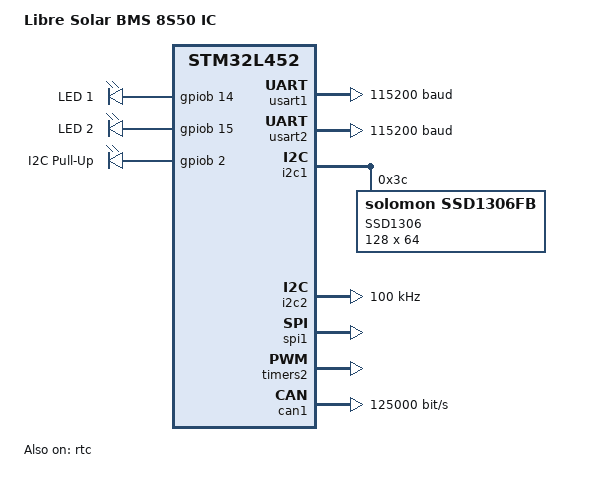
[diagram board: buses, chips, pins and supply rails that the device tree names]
/*
 * Copyright (c) 2017 Linaro Limited
 *
 * SPDX-License-Identifier: Apache-2.0
 */

/dts-v1/;
#include <st/l4/stm32l452Xc.dtsi>

/ {
	model = "Libre Solar BMS 8S50 IC";
	compatible = "st,stm32l452re-nucleo", "st,stm32l452";

	chosen {
		zephyr,console = &usart1;
		zephyr,shell-uart = &usart1;
		zephyr,sram = &sram0;
		zephyr,flash = &flash0;
	};

	leds {
		compatible = "gpio-leds";
		led1: led_0 {
			gpios = <&gpiob 14 GPIO_INT_ACTIVE_HIGH>;
			label = "LED 1";
		};
		led2: led_1 {
			gpios = <&gpiob 15 GPIO_INT_ACTIVE_HIGH>;
			label = "LED 2";
		};
		/* TODO: put to GPIOs or similar */
		i2c_pu: pb_2 {
			gpios = <&gpiob 2 GPIO_INT_ACTIVE_HIGH>;
			label = "I2C Pull-Up";
		};
	};

	aliases {
		led-red = &led1;
		led-green = &led2;
		i2c-pullup = &i2c_pu;
	};
};

&usart1 {
	current-speed = <115200>;
	status = "okay";
};

&usart2 {
	current-speed = <115200>;
	status = "okay";
};

&i2c1 {
	status = "okay";

	ssd1306@3c {
		compatible = "solomon,ssd1306fb";
		reg = <0x3c>;
		label = "SSD1306";
		width = <128>;
		height = <64>;
		segment-offset = <0>;
		page-offset = <0>;
		display-offset = <0>;
		multiplex-ratio = <63>;
		segment-remap;
		com-invdir;
		prechargep = <0x22>;
	};
};

&i2c2 {
	status = "okay";
	clock-frequency = <I2C_BITRATE_STANDARD>;
};

&spi1 {
	status = "okay";
};

&timers2 {
	status = "okay";

	pwm {
		status = "okay";
	};
};

&can1 {
	bus-speed = <125000>;
	status = "okay";
};

&rtc {
	status = "okay";
};

&flash0 {
	partitions {
		compatible = "fixed-partitions";
		#address-cells = <1>;
		#size-cells = <1>;

		/*
		 * Reserve the final 16 KiB for file system partition
		 */
		storage_partition: partition@3c000 {
			label = "storage";
			reg = <0x0003c000 0x00004000>;
		};
	};
};
